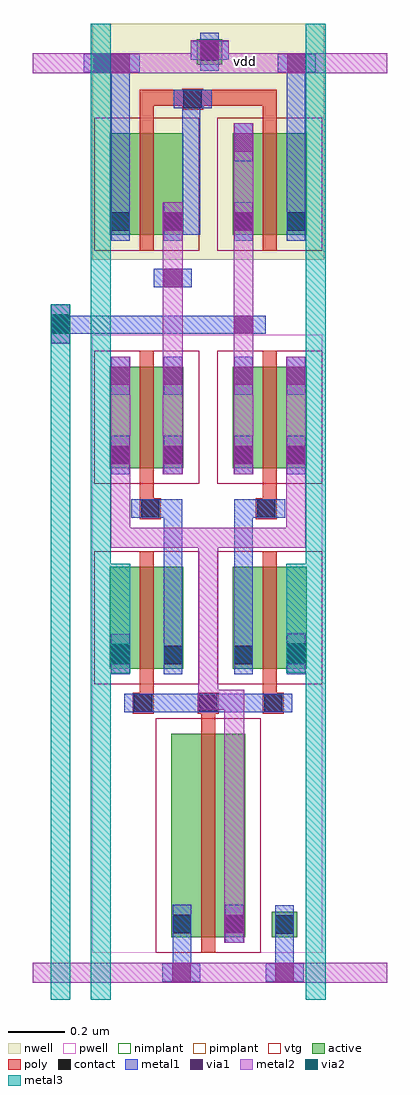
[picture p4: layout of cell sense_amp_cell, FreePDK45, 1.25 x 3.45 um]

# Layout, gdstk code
from math import pi, radians
import gdstk
lib = gdstk.Library(unit=1e-6, precision=5e-10)
def R(c, l, rs):  # rectangles x0, y0, x1, y1
    for r in rs: c.add(gdstk.rectangle(r[:2], r[2:], *l))
active = (1, 0)
pwell = (2, 0)
nwell = (3, 0)
nimplant = (4, 0)
pimplant = (5, 0)
vtg = (6, 0)
poly = (9, 0)
contact = (10, 0)
metal1 = (11, 0)
via1 = (12, 0)
metal2 = (13, 0)
via2 = (14, 0)
metal3 = (15, 0)

dcont_25 = lib.new_cell('dcont_25')
R(dcont_25, active, [(-0.0375,0.03,0.0375,0.105)])
R(dcont_25, contact, [(-0.0325,0.035,0.0325,0.1)])
R(dcont_25, metal1, [(-0.0325,0,0.0325,0.135)])

nmos_vtg_18 = lib.new_cell('nmos_vtg_18')
R(nmos_vtg_18, active, [(-0.105,0,0.155,0.72), (-0.105,0,-0.03,0.72), (0.08,0,0.155,0.72), (-0.105,0.01,-0.03,0.085), (0.08,0.01,0.155,0.085)])
R(nmos_vtg_18, pwell, [(-0.16,-0.055,0.21,0.775)])
R(nmos_vtg_18, nimplant, [(-0.105,0,0.155,0.72)])
R(nmos_vtg_18, vtg, [(-0.16,-0.055,0.21,0.775)])
R(nmos_vtg_18, poly, [(0,-0.055,0.05,0), (0,-0.055,0.05,0.775), (0,0.72,0.05,0.775)])
nmos_vtg_18.add(gdstk.Reference(dcont_25, (0.1175,-0.02)))
nmos_vtg_18.add(gdstk.Reference(dcont_25, (-0.0675,-0.02)))
nmos_vtg_18.add(gdstk.Label('l = 0.05', (0.06,0.36), layer=239, texttype=0))
nmos_vtg_18.add(gdstk.Label('w = 0.72', (0.025,0.785), layer=239, texttype=0))

m3_m2_viab = lib.new_cell('M3_M2_viaB')
R(m3_m2_viab, metal2, [(-0.035,-0.07,0.035,0.07)])
R(m3_m2_viab, via2, [(-0.035,-0.035,0.035,0.035)])
R(m3_m2_viab, metal3, [(-0.035,-0.07,0.035,0.07)])

m2_m1_viab = lib.new_cell('M2_M1_viaB')
R(m2_m1_viab, metal1, [(-0.0675,-0.0325,0.0675,0.0325)])
R(m2_m1_viab, via1, [(-0.0325,-0.0325,0.0325,0.0325)])
R(m2_m1_viab, metal2, [(-0.0675,-0.035,0.0675,0.035)])

nmos_vtg_12 = lib.new_cell('nmos_vtg_12')
R(nmos_vtg_12, active, [(-0.105,0,0.155,0.36), (-0.105,0,-0.03,0.36), (0.08,0,0.155,0.36), (-0.105,0.01,-0.03,0.085), (0.08,0.01,0.155,0.085)])
R(nmos_vtg_12, pwell, [(-0.16,-0.055,0.21,0.415)])
R(nmos_vtg_12, nimplant, [(-0.105,0,0.155,0.36)])
R(nmos_vtg_12, vtg, [(-0.16,-0.055,0.21,0.415)])
R(nmos_vtg_12, poly, [(0,-0.055,0.05,0), (0,-0.055,0.05,0.415), (0,0.36,0.05,0.415)])
nmos_vtg_12.add(gdstk.Reference(dcont_25, (0.1175,-0.02)))
nmos_vtg_12.add(gdstk.Reference(dcont_25, (-0.0675,-0.02)))
nmos_vtg_12.add(gdstk.Label('l = 0.05', (0.06,0.18), layer=239, texttype=0))
nmos_vtg_12.add(gdstk.Label('w = 0.36', (0.025,0.425), layer=239, texttype=0))

m2_m1_viac = lib.new_cell('M2_M1_viaC')
R(m2_m1_viac, metal1, [(-0.0325,-0.0675,0.0325,0.0675)])
R(m2_m1_viac, via1, [(-0.0325,-0.0325,0.0325,0.0325)])
R(m2_m1_viac, metal2, [(-0.035,-0.0675,0.035,0.0675)])

pmos_vtg_19 = lib.new_cell('pmos_vtg_19')
R(pmos_vtg_19, active, [(-0.105,0,0.155,0.36), (-0.105,0,-0.03,0.36), (0.08,0,0.155,0.36), (-0.105,0.01,-0.03,0.085), (0.08,0.01,0.155,0.085)])
R(pmos_vtg_19, nwell, [(-0.16,-0.055,0.21,0.415)])
R(pmos_vtg_19, pimplant, [(-0.105,0,0.155,0.36)])
R(pmos_vtg_19, vtg, [(-0.16,-0.055,0.21,0.415)])
R(pmos_vtg_19, poly, [(0,-0.055,0.05,0), (0,-0.055,0.05,0.415), (0,0.36,0.05,0.415)])
pmos_vtg_19.add(gdstk.Reference(dcont_25, (0.1175,-0.02)))
pmos_vtg_19.add(gdstk.Reference(dcont_25, (-0.0675,-0.02)))
pmos_vtg_19.add(gdstk.Label('l = 0.05', (0.06,0.18), layer=239, texttype=0))
pmos_vtg_19.add(gdstk.Label('w = 0.36', (0.025,0.425), layer=239, texttype=0))

m2_m1_via = lib.new_cell('M2_M1_via')
R(m2_m1_via, metal1, [(-0.0675,-0.0325,0.0675,0.0325)])
R(m2_m1_via, via1, [(-0.0325,-0.0325,0.0325,0.0325)])
R(m2_m1_via, metal2, [(-0.035,-0.0675,0.035,0.0675)])

nmos_vtg_20 = lib.new_cell('nmos_vtg_20')
R(nmos_vtg_20, active, [(-0.105,0,0.155,0.36), (-0.105,0,-0.03,0.36), (0.08,0,0.155,0.36), (-0.105,0.01,-0.03,0.085), (0.08,0.01,0.155,0.085)])
R(nmos_vtg_20, pwell, [(-0.16,-0.055,0.21,0.415)])
R(nmos_vtg_20, nimplant, [(-0.105,0,0.155,0.36)])
R(nmos_vtg_20, vtg, [(-0.16,-0.055,0.21,0.415)])
R(nmos_vtg_20, poly, [(0,-0.055,0.05,0), (0,-0.055,0.05,0.415), (0,0.36,0.05,0.415)])
nmos_vtg_20.add(gdstk.Reference(dcont_25, (0.1175,-0.02)))
nmos_vtg_20.add(gdstk.Reference(dcont_25, (-0.0675,-0.02)))
nmos_vtg_20.add(gdstk.Label('l = 0.05', (0.06,0.18), layer=239, texttype=0))
nmos_vtg_20.add(gdstk.Label('w = 0.36', (0.025,0.425), layer=239, texttype=0))

pcont_2 = lib.new_cell('pcont_2')
R(pcont_2, poly, [(-0.0375,-0.0375,0.0375,0.0375)])
R(pcont_2, contact, [(-0.0325,-0.0325,0.0325,0.0325)])
R(pcont_2, metal1, [(-0.0325,-0.0675,0.0325,0.0675)])

m2_m1_2 = lib.new_cell('M2_M1_2')
R(m2_m1_2, metal1, [(-0.0325,-0.0675,0.0325,0.0675)])
R(m2_m1_2, via1, [(-0.0325,-0.0325,0.0325,0.0325)])
R(m2_m1_2, metal2, [(-0.035,-0.0675,0.035,0.0675)])

ntap_1 = lib.new_cell('NTAP_1')
R(ntap_1, active, [(-0.045,-0.045,0.045,0.045)])
R(ntap_1, nwell, [(-0.1,-0.1,0.1,0.1)])
R(ntap_1, nimplant, [(-0.045,-0.045,0.045,0.045)])
R(ntap_1, contact, [(-0.0325,-0.0325,0.0325,0.0325)])
R(ntap_1, metal1, [(-0.0325,-0.0675,0.0325,0.0675)])

ptap_0 = lib.new_cell('PTAP_0')
R(ptap_0, active, [(-0.045,-0.045,0.045,0.045)])
R(ptap_0, pwell, [(-0.1,-0.1,0.1,0.1)])
R(ptap_0, pimplant, [(-0.045,-0.045,0.045,0.045)])
R(ptap_0, contact, [(-0.0325,-0.0325,0.0325,0.0325)])
R(ptap_0, metal1, [(-0.0325,-0.0675,0.0325,0.0675)])

sense_amp_cell = lib.new_cell('sense_amp_cell')
R(sense_amp_cell, pwell, [(0.215,0.43,1.0275,2.615)])
R(sense_amp_cell, nwell, [(0.215,2.88,1.035,3.715)])
R(sense_amp_cell, poly, [(0.6,1.2575,0.65,1.3), (0.3825,1.3475,0.4325,1.39), (0.8175,1.3475,0.8675,1.39), (0.3825,2.0375,0.4325,2.0875), (0.8175,2.0375,0.8675,2.0875), (0.3825,3.3725,0.4325,3.48), (0.8175,3.3725,0.8675,3.48), (0.3825,3.425,0.8675,3.48)])
R(sense_amp_cell, metal1, [(0.5,0.325,0.565,0.5225), (0.8625,0.325,0.9275,0.5225), (0.45,1.28,0.795,1.345), (0.4675,1.525,0.5325,2.0325), (0.7175,1.525,0.7825,2.0325), (0.0675,2.6175,0.8275,2.6825), (0.5325,2.9675,0.5975,3.425), (0.9025,3.0625,0.9675,3.605), (0.2825,3.065,0.3475,3.6075)])
R(sense_amp_cell, metal2, [(0.005,0.325,1.2575,0.395), (0.6825,0.465,0.7525,1.36), (0.59,1.29,0.7525,1.36), (0.59,1.295,0.66,1.8625), (0.28,1.8625,0.97,1.9325), (0.28,1.9325,0.35,2.5375), (0.9,1.9325,0.97,2.5375), (0.465,2.1225,0.535,2.7525), (0.715,2.1225,0.785,2.6175), (0.715,2.6125,0.785,3.3625), (0.465,2.7525,0.535,3.0675), (0.005,3.54,1.2575,3.61)])
R(sense_amp_cell, metal3, [(0.0675,0.265,0.1375,2.6825), (0.21,0.265,0.28,3.715), (0.97,0.265,1.04,3.715), (0.28,1.445,0.35,1.805), (0.9,1.445,0.97,1.805)])
sense_amp_cell.add(gdstk.Reference(nmos_vtg_18, (0.6,0.485)))
sense_amp_cell.add(gdstk.Reference(m3_m2_viab, (0.1025,2.6525)))
sense_amp_cell.add(gdstk.Reference(m3_m2_viab, (0.315,1.4875)))
sense_amp_cell.add(gdstk.Reference(m3_m2_viab, (0.935,1.49)))
sense_amp_cell.add(gdstk.Reference(m2_m1_viab, (0.895,0.36)))
sense_amp_cell.add(gdstk.Reference(m2_m1_viab, (0.2525,3.575)))
sense_amp_cell.add(gdstk.Reference(m2_m1_viab, (0.53,0.36)))
sense_amp_cell.add(gdstk.Reference(m2_m1_viab, (0.9375,3.575)))
sense_amp_cell.add(gdstk.Reference(m2_m1_viab, (0.315,3.575)))
sense_amp_cell.add(gdstk.Reference(nmos_vtg_12, (0.3825,1.435)))
sense_amp_cell.add(gdstk.Reference(nmos_vtg_12, (0.8175,1.435)))
sense_amp_cell.add(gdstk.Reference(m2_m1_viac, (0.7175,0.5325)))
sense_amp_cell.add(gdstk.Reference(m2_m1_viac, (0.63,3.62), rotation=pi/2))
sense_amp_cell.add(gdstk.Reference(m2_m1_viac, (0.315,2.19)))
sense_amp_cell.add(gdstk.Reference(m2_m1_viac, (0.935,2.19)))
sense_amp_cell.add(gdstk.Reference(m2_m1_viac, (0.935,2.47)))
sense_amp_cell.add(gdstk.Reference(pmos_vtg_19, (0.8175,2.9675)))
sense_amp_cell.add(gdstk.Reference(pmos_vtg_19, (0.3825,2.9675)))
sense_amp_cell.add(gdstk.Reference(m2_m1_via, (0.5,2.815)))
sense_amp_cell.add(gdstk.Reference(m2_m1_via, (0.75,2.65)))
sense_amp_cell.add(gdstk.Reference(nmos_vtg_20, (0.8175,2.1425)))
sense_amp_cell.add(gdstk.Reference(nmos_vtg_20, (0.3825,2.1425)))
sense_amp_cell.add(gdstk.Reference(pcont_2, (0.57,3.4475), rotation=pi/2))
sense_amp_cell.add(gdstk.Reference(pcont_2, (0.42,2), rotation=pi/2))
sense_amp_cell.add(gdstk.Reference(pcont_2, (0.395,1.3125), rotation=pi/2))
sense_amp_cell.add(gdstk.Reference(pcont_2, (0.855,1.3125), rotation=pi/2))
sense_amp_cell.add(gdstk.Reference(pcont_2, (0.83,2), rotation=pi/2))
sense_amp_cell.add(gdstk.Reference(pcont_2, (0.625,1.3125), rotation=pi/2))
sense_amp_cell.add(gdstk.Reference(m2_m1_2, (0.315,2.47)))
sense_amp_cell.add(gdstk.Reference(m2_m1_2, (0.1025,2.6525)))
sense_amp_cell.add(gdstk.Reference(m2_m1_2, (0.75,2.47)))
sense_amp_cell.add(gdstk.Reference(m2_m1_2, (0.5,2.47)))
sense_amp_cell.add(gdstk.Reference(m2_m1_2, (0.5,3.015)))
sense_amp_cell.add(gdstk.Reference(m2_m1_2, (0.75,3.015)))
sense_amp_cell.add(gdstk.Reference(m2_m1_2, (0.75,3.295)))
sense_amp_cell.add(gdstk.Reference(m2_m1_2, (0.75,2.19)))
sense_amp_cell.add(gdstk.Reference(m2_m1_2, (0.5,2.19)))
sense_amp_cell.add(gdstk.Reference(m2_m1_viac, (0.935,1.49)))
sense_amp_cell.add(gdstk.Reference(m2_m1_viac, (0.315,1.49)))
sense_amp_cell.add(gdstk.Reference(ntap_1, (0.63,3.615)))
sense_amp_cell.add(gdstk.Reference(ptap_0, (0.895,0.53)))
sense_amp_cell.add(gdstk.Label('vdd', (0.7575,3.58), layer=13, texttype=0))

lib.write_gds('sense_amp_cell.gds')
